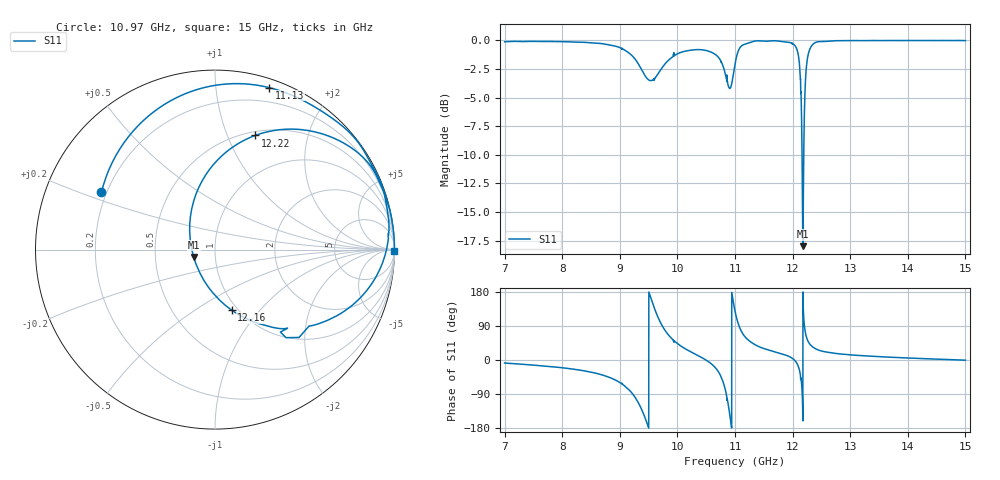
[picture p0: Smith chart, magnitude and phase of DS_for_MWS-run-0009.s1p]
! TOUCHSTONE file generated by CST DESIGN STUDIO
! Date and time: Mon Feb 10 16:41:39 2025
! Project name: C:\Work\MatlabApps\UnitCellType2OptimizationMatlab\CST\unitcell.cst
! Tree item: Tasks\Sweep1\SPara1\S-Parameters
! Header version: 2024
! Port assignment regex: !\s*Touchstone port\s*([0-9]+)\s*=\s*(CST MWS port|CST DES external port|CST DES block port)\s*(.+)\s* \(\"(.*)\"\)(\s*mode\s*([0-9]+))?.*
! Touchstone port assignment:
! Touchstone port 1 = CST DES external port 1 ("")
# GHz S MA R 50
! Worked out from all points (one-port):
!   4001 points, 7 GHz to 15 GHz, reference 50 ohm
!   lowest |S11| = -18.0 dB at 12.18 GHz (marker M1), VSWR 1.29, Z = 39.2 - j3.33 ohm
!   |S11| at or under -10 dB: 12.16414 GHz to 12.19328 GHz (29.13 MHz wide, 0.239 % of centre)
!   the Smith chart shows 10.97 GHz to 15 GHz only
!   S11 on the Smith chart (normalised r, x): 10.97 GHz: 0.18, +0.23; 11.13 GHz: 0.07, +1.39; 12.16 GHz: 0.94, -0.72; 12.22 GHz: 0.54, +1.26; 15 GHz: open
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7  0.9872 -8.0
8  0.9875 -20.4
8.632  0.9718 -36.7
9  0.9309 -59.4
9.29  0.813 -104.4
9.5  0.6725 -178.9
9.708  0.7428 98.3
10  0.8739 43.5
10.578  0.8908 -8.8
10.722  0.8379 -33.6
10.82  0.7329 -71.4
10.888  0.6278 -123.0
10.97  0.7083 153.3
11  0.7876 128.8
11.056  0.8985 96.0
11.126  0.9516 71.5
11.396  0.9966 36.6
12  0.9692 3.9
12.092  0.8822 -14.1
12.132  0.6956 -37.2
12.162  0.3492 -74.7
12.178  0.126 -160.7
12.224  0.674 70.6
12.29  0.9034 43.8
12.394  0.9787 30.0
13  0.9985 13.7
14  0.9995 5.3
15  0.9986 -0.5
